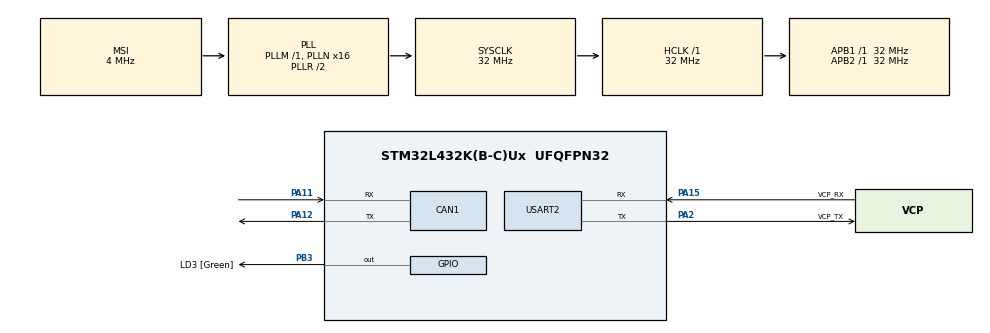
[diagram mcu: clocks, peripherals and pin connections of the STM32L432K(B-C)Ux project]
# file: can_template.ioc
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CAN1.CalculateTimeQuantum=500.0
Mcu.Family=STM32L4
Mcu.Name=STM32L432K(B-C)Ux
Mcu.Package=UFQFPN32
NVIC.CAN1_RX0_IRQn=true\:0\:0\:false\:false\:true\:true
NVIC.CAN1_RX1_IRQn=true\:0\:0\:false\:false\:true\:true
NVIC.CAN1_SCE_IRQn=true\:0\:0\:false\:false\:true\:true
NVIC.CAN1_TX_IRQn=true\:0\:0\:false\:false\:true\:true
NVIC.PriorityGroup=NVIC_PRIORITYGROUP_4
PA0.GPIO_Label=MCO [High speed clock in]
PA0.Mode=HSE-External-Clock-Source-for-LittleOrca
PA0.Signal=RCC_CK_IN
PA11.Mode=Master
PA11.Signal=CAN1_RX
PA12.Mode=Master
PA12.Signal=CAN1_TX
PA13\ (JTMS-SWDIO).GPIO_Label=SWDIO
PA13\ (JTMS-SWDIO).Mode=Serial_Wire
PA13\ (JTMS-SWDIO).Signal=SYS_JTMS-SWDIO
PA14\ (JTCK-SWCLK).GPIO_Label=SWCLK
PA14\ (JTCK-SWCLK).Mode=Serial_Wire
PA14\ (JTCK-SWCLK).Signal=SYS_JTCK-SWCLK
PA15\ (JTDI).GPIO_Label=VCP_RX
PA15\ (JTDI).Mode=Asynchronous
PA15\ (JTDI).Signal=USART2_RX
PA2.GPIO_Label=VCP_TX
PA2.Mode=Asynchronous
PA2.Signal=USART2_TX
PB3\ (JTDO-TRACESWO).GPIO_Label=LD3 [Green]
PB3\ (JTDO-TRACESWO).Signal=GPIO_Output
PC14-OSC32_IN\ (PC14).Mode=LSE-External-Oscillator
PC14-OSC32_IN\ (PC14).Signal=RCC_OSC32_IN
PC15-OSC32_OUT\ (PC15).Mode=LSE-External-Oscillator
PC15-OSC32_OUT\ (PC15).Signal=RCC_OSC32_OUT
ProjectManager.HeapSize=0x200
ProjectManager.StackSize=0x400
ProjectManager.TargetToolchain=TrueSTUDIO
RCC.AHBFreq_Value=32000000
RCC.APB1Freq_Value=32000000
RCC.APB1TimFreq_Value=32000000
RCC.APB2Freq_Value=32000000
RCC.APB2TimFreq_Value=32000000
RCC.CortexFreq_Value=32000000
RCC.HCLKFreq_Value=32000000
RCC.HSE_VALUE=8000000
RCC.HSI16_VALUE=16000000
RCC.HSI48_VALUE=48000000
RCC.HSI_VALUE=16000000
RCC.MSI_VALUE=4000000
RCC.PLLMUL=RCC_PLLMUL_4
RCC.PLLN=16
RCC.SYSCLKFreq_VALUE=32000000
RCC.SYSCLKSource=RCC_SYSCLKSOURCE_PLLCLK
RCC.VCOOutputFreq_Value=64000000
USART2.VirtualMode-Asynchronous=VM_ASYNC
board=NUCLEO-L432KC

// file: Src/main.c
/* USER CODE BEGIN Header */
/**
  ******************************************************************************
  * @file           : main.c
  * @brief          : Main program body
  ******************************************************************************
  ** This notice applies to any and all portions of this file
  * that are not between comment pairs USER CODE BEGIN and
  * USER CODE END. Other portions of this file, whether
  * inserted by the user or by software development tools
  * are owned by their respective copyright owners.
  *
  * COPYRIGHT(c) 2019 STMicroelectronics
  *
  * Redistribution and use in source and binary forms, with or without modification,
  * are permitted provided that the following conditions are met:
  *   1. Redistributions of source code must retain the above copyright notice,
  *      this list of conditions and the following disclaimer.
  *   2. Redistributions in binary form must reproduce the above copyright notice,
  *      this list of conditions and the following disclaimer in the documentation
  *      and/or other materials provided with the distribution.
  *   3. Neither the name of STMicroelectronics nor the names of its contributors
  *      may be used to endorse or promote products derived from this software
  *      without specific prior written permission.
  *
  * THIS SOFTWARE IS PROVIDED BY THE COPYRIGHT HOLDERS AND CONTRIBUTORS "AS IS"
  * AND ANY EXPRESS OR IMPLIED WARRANTIES, INCLUDING, BUT NOT LIMITED TO, THE
  * IMPLIED WARRANTIES OF MERCHANTABILITY AND FITNESS FOR A PARTICULAR PURPOSE ARE
  * DISCLAIMED. IN NO EVENT SHALL THE COPYRIGHT HOLDER OR CONTRIBUTORS BE LIABLE
  * FOR ANY DIRECT, INDIRECT, INCIDENTAL, SPECIAL, EXEMPLARY, OR CONSEQUENTIAL
  * DAMAGES (INCLUDING, BUT NOT LIMITED TO, PROCUREMENT OF SUBSTITUTE GOODS OR
  * SERVICES; LOSS OF USE, DATA, OR PROFITS; OR BUSINESS INTERRUPTION) HOWEVER
  * CAUSED AND ON ANY THEORY OF LIABILITY, WHETHER IN CONTRACT, STRICT LIABILITY,
  * OR TORT (INCLUDING NEGLIGENCE OR OTHERWISE) ARISING IN ANY WAY OUT OF THE USE
  * OF THIS SOFTWARE, EVEN IF ADVISED OF THE POSSIBILITY OF SUCH DAMAGE.
  *
  ******************************************************************************
  */
/* USER CODE END Header */

#include "main.h"

UART_HandleTypeDef huart2;

/* USER CODE BEGIN PV */
uint8_t ubKeyNumber = 0x0;
CAN_HandleTypeDef     hcan1;
CAN_TxHeaderTypeDef   TxHeader;
CAN_RxHeaderTypeDef   RxHeader;
uint8_t               TxData[8];
uint8_t               RxData[8];
uint32_t              TxMailbox;

/* USER CODE END PV */

void SystemClock_Config(void);
static void MX_GPIO_Init(void);
static void MX_USART2_UART_Init(void);
static void MX_CAN1_Init(void);

int main(void)
{

  /* MCU Configuration--------------------------------------------------------*/

  /* Reset of all peripherals, Initializes the Flash interface and the Systick. */
  HAL_Init();

  /* Configure the system clock */
  SystemClock_Config();

  /* Initialize all configured peripherals */
  MX_GPIO_Init();
  MX_USART2_UART_Init();
  MX_CAN1_Init();
  /* USER CODE BEGIN 2 */
  TxData[0] = 0x12;
  TxData[1] = 0xAD;

  /* USER CODE END 2 */

  /* Infinite loop */
  while (1)
  {
    if (HAL_CAN_AddTxMessage(&hcan1, &TxHeader, TxData, &TxMailbox) != HAL_OK)
    {
      /* Transmission request Error */
      Error_Handler();
    }
    HAL_Delay(10);
  }
}

void SystemClock_Config(void)
{
  RCC_OscInitTypeDef RCC_OscInitStruct = {0};
  RCC_ClkInitTypeDef RCC_ClkInitStruct = {0};
  RCC_PeriphCLKInitTypeDef PeriphClkInit = {0};

  /**Configure LSE Drive Capability
  */
  HAL_PWR_EnableBkUpAccess();
  __HAL_RCC_LSEDRIVE_CONFIG(RCC_LSEDRIVE_LOW);
  /**Initializes the CPU, AHB and APB busses clocks
  */
  RCC_OscInitStruct.OscillatorType = RCC_OSCILLATORTYPE_LSE|RCC_OSCILLATORTYPE_MSI;
  RCC_OscInitStruct.LSEState = RCC_LSE_ON;
  RCC_OscInitStruct.MSIState = RCC_MSI_ON;
  RCC_OscInitStruct.MSICalibrationValue = 0;
  RCC_OscInitStruct.MSIClockRange = RCC_MSIRANGE_6;
  RCC_OscInitStruct.PLL.PLLState = RCC_PLL_ON;
  RCC_OscInitStruct.PLL.PLLSource = RCC_PLLSOURCE_MSI;
  RCC_OscInitStruct.PLL.PLLM = 1;
  RCC_OscInitStruct.PLL.PLLN = 16;
  RCC_OscInitStruct.PLL.PLLP = RCC_PLLP_DIV7;
  RCC_OscInitStruct.PLL.PLLQ = RCC_PLLQ_DIV2;
  RCC_OscInitStruct.PLL.PLLR = RCC_PLLR_DIV2;
  if (HAL_RCC_OscConfig(&RCC_OscInitStruct) != HAL_OK)
  {
    Error_Handler();
  }
  /**Initializes the CPU, AHB and APB busses clocks
  */
  RCC_ClkInitStruct.ClockType = RCC_CLOCKTYPE_HCLK|RCC_CLOCKTYPE_SYSCLK
                              |RCC_CLOCKTYPE_PCLK1|RCC_CLOCKTYPE_PCLK2;
  RCC_ClkInitStruct.SYSCLKSource = RCC_SYSCLKSOURCE_PLLCLK;
  RCC_ClkInitStruct.AHBCLKDivider = RCC_SYSCLK_DIV1;
  RCC_ClkInitStruct.APB1CLKDivider = RCC_HCLK_DIV1;
  RCC_ClkInitStruct.APB2CLKDivider = RCC_HCLK_DIV1;

  if (HAL_RCC_ClockConfig(&RCC_ClkInitStruct, FLASH_LATENCY_1) != HAL_OK)
  {
    Error_Handler();
  }
  PeriphClkInit.PeriphClockSelection = RCC_PERIPHCLK_USART2;
  PeriphClkInit.Usart2ClockSelection = RCC_USART2CLKSOURCE_PCLK1;
  if (HAL_RCCEx_PeriphCLKConfig(&PeriphClkInit) != HAL_OK)
  {
    Error_Handler();
  }
  /**Configure the main internal regulator output voltage
  */
  if (HAL_PWREx_ControlVoltageScaling(PWR_REGULATOR_VOLTAGE_SCALE1) != HAL_OK)
  {
    Error_Handler();
  }
  /**Enable MSI Auto calibration
  */
  HAL_RCCEx_EnableMSIPLLMode();
}

static void MX_CAN1_Init(void)
{

  hcan1.Instance = CAN1;
  hcan1.Init.Prescaler = 16;
  hcan1.Init.Mode = CAN_MODE_NORMAL;
  hcan1.Init.SyncJumpWidth = CAN_SJW_1TQ;
  hcan1.Init.TimeSeg1 = CAN_BS1_4TQ;
  hcan1.Init.TimeSeg2 = CAN_BS2_5TQ;
  hcan1.Init.TimeTriggeredMode = DISABLE;
  hcan1.Init.AutoBusOff = DISABLE;
  hcan1.Init.AutoWakeUp = DISABLE;
  hcan1.Init.AutoRetransmission = ENABLE;
  hcan1.Init.ReceiveFifoLocked = DISABLE;
  hcan1.Init.TransmitFifoPriority = DISABLE;
  if (HAL_CAN_Init(&hcan1) != HAL_OK)
  {
    Error_Handler();
  }
  /* USER CODE BEGIN CAN1_Init 2 */
  // Configure the CAN Filter
  CAN_FilterTypeDef  sFilterConfig;
  sFilterConfig.FilterBank = 0;
  sFilterConfig.FilterMode = CAN_FILTERMODE_IDMASK;
  sFilterConfig.FilterScale = CAN_FILTERSCALE_32BIT;
  sFilterConfig.FilterIdHigh = 0x0000;
  sFilterConfig.FilterIdLow = 0x0000;
  sFilterConfig.FilterMaskIdHigh = 0x0000;
  sFilterConfig.FilterMaskIdLow = 0x0000;
  sFilterConfig.FilterFIFOAssignment = CAN_RX_FIFO0;
  sFilterConfig.FilterActivation = ENABLE;
  sFilterConfig.SlaveStartFilterBank = 14;
  if (HAL_CAN_ConfigFilter(&hcan1, &sFilterConfig) != HAL_OK)
  {
    /* Filter configuration Error */
    Error_Handler();
  }

  // Start the CAN peripheral
  if (HAL_CAN_Start(&hcan1) != HAL_OK)
  {
    /* Start Error */
    Error_Handler();
  }

  // Activate CAN RX notification
  if (HAL_CAN_ActivateNotification(&hcan1, CAN_IT_RX_FIFO0_MSG_PENDING) != HAL_OK)
  {
    /* Notification Error */
    Error_Handler();
  }

  // Configure the transmission process
  TxHeader.StdId = 0x321;
  TxHeader.ExtId = 0x01;
  TxHeader.RTR = CAN_RTR_DATA;
  TxHeader.IDE = CAN_ID_STD;
  TxHeader.DLC = 2;
  TxHeader.TransmitGlobalTime = DISABLE;

  /* USER CODE END CAN1_Init 2 */

}

/**
  * @brief  Rx Fifo 0 message pending callback
  * @param  hcan: pointer to a CAN_HandleTypeDef structure that contains
  *         the configuration information for the specified CAN.
  * @retval None
  */
void HAL_CAN_RxFifo0MsgPendingCallback(CAN_HandleTypeDef *hcan)
{
  /* Get RX message */
  if (HAL_CAN_GetRxMessage(hcan, CAN_RX_FIFO0, &RxHeader, RxData) != HAL_OK)
  {
    /* Reception Error */
    Error_Handler();
  }

  /* Display LEDx */
  if ((RxHeader.StdId == 0x321) && (RxHeader.IDE == CAN_ID_STD) && (RxHeader.DLC == 2))
  {
    printf("%i\n", RxData[0]);
    ubKeyNumber = RxData[0];
  }
}

static void MX_USART2_UART_Init(void)
{

  huart2.Instance = USART2;
  huart2.Init.BaudRate = 115200;
  huart2.Init.WordLength = UART_WORDLENGTH_8B;
  huart2.Init.StopBits = UART_STOPBITS_1;
  huart2.Init.Parity = UART_PARITY_NONE;
  huart2.Init.Mode = UART_MODE_TX_RX;
  huart2.Init.HwFlowCtl = UART_HWCONTROL_NONE;
  huart2.Init.OverSampling = UART_OVERSAMPLING_16;
  huart2.Init.OneBitSampling = UART_ONE_BIT_SAMPLE_DISABLE;
  huart2.AdvancedInit.AdvFeatureInit = UART_ADVFEATURE_NO_INIT;
  if (HAL_UART_Init(&huart2) != HAL_OK)
  {
    Error_Handler();
  }

}

static void MX_GPIO_Init(void)
{
  GPIO_InitTypeDef GPIO_InitStruct = {0};

  /* GPIO Ports Clock Enable */
  __HAL_RCC_GPIOC_CLK_ENABLE();
  __HAL_RCC_GPIOA_CLK_ENABLE();
  __HAL_RCC_GPIOB_CLK_ENABLE();

  /*Configure GPIO pin Output Level */
  HAL_GPIO_WritePin(LD3_GPIO_Port, LD3_Pin, GPIO_PIN_RESET);

  /*Configure GPIO pin : LD3_Pin */
  GPIO_InitStruct.Pin = LD3_Pin;
  GPIO_InitStruct.Mode = GPIO_MODE_OUTPUT_PP;
  GPIO_InitStruct.Pull = GPIO_NOPULL;
  GPIO_InitStruct.Speed = GPIO_SPEED_FREQ_LOW;
  HAL_GPIO_Init(LD3_GPIO_Port, &GPIO_InitStruct);

}

void Error_Handler(void)
{
}

/************************ (C) COPYRIGHT STMicroelectronics *****END OF FILE****/
